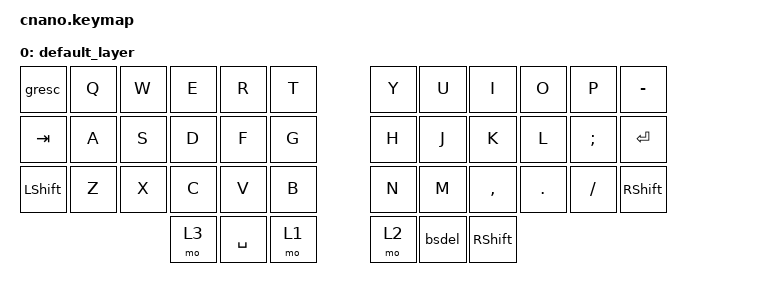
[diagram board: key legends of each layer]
/*
 * Copyright (c) 2021 Casey Webster
 *
 * SPDX-License-Identifier: MIT
 */

#include <behaviors.dtsi>
#include <dt-bindings/zmk/keys.h>
#include <dt-bindings/zmk/mouse.h>

/ {
	keymap {
		compatible = "zmk,keymap";

		default_layer {
			bindings = <
&gresc     &kp Q  &kp W  &kp E  &kp R      &kp T    &kp Y  &kp U   &kp I            &kp O    &kp P     &kp MINUS
&kp TAB    &kp A  &kp S  &kp D  &kp F      &kp G    &kp H  &kp J   &kp K            &kp L    &kp SEMI  &kp ENTER
&kp LSHFT  &kp Z  &kp X  &kp C  &kp V      &kp B    &kp N  &kp M   &kp COMMA        &kp DOT  &kp FSLH  &kp RSHIFT
                         &mo 3  &kp SPACE  &mo 1    &mo 2  &bsdel  &kp RIGHT_SHIFT
			>;
			trackball-bindings = <&tmv_coarse>;
		};
	};
};
